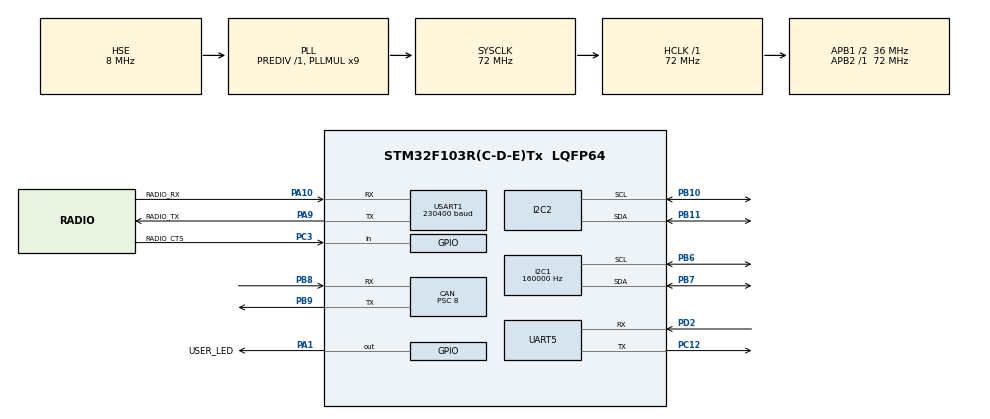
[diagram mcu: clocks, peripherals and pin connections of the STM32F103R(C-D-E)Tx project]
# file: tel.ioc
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CAN.BS1=CAN_BS1_4TQ
CAN.BS2=CAN_BS2_4TQ
CAN.CalculateBaudRate=500000
CAN.CalculateTimeBit=2000
CAN.CalculateTimeQuantum=222.22222222222223
CAN.NART=DISABLE
CAN.Prescaler=8
CAN.SJW=CAN_SJW_2TQ
CAN.TXFP=DISABLE
Dma.Request0=USART1_TX
Dma.USART1_TX.0.Direction=DMA_MEMORY_TO_PERIPH
Dma.USART1_TX.0.Instance=DMA1_Channel4
Dma.USART1_TX.0.MemDataAlignment=DMA_MDATAALIGN_BYTE
Dma.USART1_TX.0.MemInc=DMA_MINC_ENABLE
Dma.USART1_TX.0.Mode=DMA_NORMAL
Dma.USART1_TX.0.PeriphDataAlignment=DMA_PDATAALIGN_BYTE
Dma.USART1_TX.0.PeriphInc=DMA_PINC_DISABLE
Dma.USART1_TX.0.Priority=DMA_PRIORITY_LOW
FREERTOS.INCLUDE_xTaskGetHandle=0
FREERTOS.Tasks01=defaultTask,24,128,StartDefaultTask,Default,NULL,Static,defaultTaskBuffer,defaultTaskControlBlock;IMU_Task,8,256,IMU_task,Default,NULL,Static,IMU_TaskBuffer,IMU_TaskControlBlock;GPS_Task,8,512,GPS_task,Default,NULL,Static,GPS_TaskBuffer,GPS_TaskControlBlock;CANLoad_Task,8,128,CANLoad_task,Default,NULL,Static,CANLoad_TaskBuffer,CANLoad_TaskControlBlock;Diagnostic_Task,8,128,Diagnostic_task,Default,NULL,Static,DiagnosticTaskBuffer,DiagnosticTaskControlBlock
FREERTOS.configTOTAL_HEAP_SIZE=16384
FREERTOS.configUSE_NEWLIB_REENTRANT=1
I2C1.ClockSpeed=160000
I2C1.I2C_Mode=I2C_Fast
I2C1.OwnAddress=0
IWDG.Prescaler=IWDG_PRESCALER_4
Mcu.Family=STM32F1
Mcu.Name=STM32F103R(C-D-E)Tx
Mcu.Package=LQFP64
NVIC.DMA1_Channel4_IRQn=true\:5\:0\:false\:false\:true\:true\:false\:true\:true
NVIC.I2C1_EV_IRQn=true\:5\:0\:false\:false\:true\:true\:true\:true\:true
NVIC.PriorityGroup=NVIC_PRIORITYGROUP_4
NVIC.TIM1_UP_IRQn=true\:15\:0\:false\:false\:true\:false\:false\:true\:true
NVIC.TIM2_IRQn=true\:5\:0\:false\:false\:true\:true\:true\:true\:true
NVIC.TimeBase=TIM1_UP_IRQn
NVIC.TimeBaseIP=TIM1
NVIC.UART5_IRQn=true\:5\:0\:false\:false\:true\:true\:true\:true\:true
NVIC.USART1_IRQn=true\:5\:0\:false\:false\:true\:true\:true\:true\:true
NVIC.USB_LP_CAN1_RX0_IRQn=true\:5\:0\:false\:false\:true\:true\:true\:true\:true
PA1.GPIO_Label=USER_LED
PA1.Signal=GPIO_Output
PA10.GPIO_Label=RADIO_RX
PA10.Mode=Asynchronous
PA10.Signal=USART1_RX
PA13.Mode=Serial_Wire
PA13.Signal=SYS_JTMS-SWDIO
PA14.Mode=Serial_Wire
PA14.Signal=SYS_JTCK-SWCLK
PA9.GPIO_Label=RADIO_TX
PA9.Mode=Asynchronous
PA9.Signal=USART1_TX
PB10.Mode=I2C
PB10.Signal=I2C2_SCL
PB11.Mode=I2C
PB11.Signal=I2C2_SDA
PB6.Mode=I2C
PB6.Signal=I2C1_SCL
PB7.Mode=I2C
PB7.Signal=I2C1_SDA
PB8.Mode=CAN_Activate
PB8.Signal=CAN_RX
PB9.Mode=CAN_Activate
PB9.Signal=CAN_TX
PC12.Mode=Asynchronous
PC12.Signal=UART5_TX
PC14-OSC32_IN.Mode=LSE-External-Oscillator
PC14-OSC32_IN.Signal=RCC_OSC32_IN
PC15-OSC32_OUT.Mode=LSE-External-Oscillator
PC15-OSC32_OUT.Signal=RCC_OSC32_OUT
PC3.GPIO_Label=RADIO_CTS
PC3.Signal=GPIO_Input
PD0-OSC_IN.Mode=HSE-External-Oscillator
PD0-OSC_IN.Signal=RCC_OSC_IN
PD1-OSC_OUT.Mode=HSE-External-Oscillator
PD1-OSC_OUT.Signal=RCC_OSC_OUT
PD2.Mode=Asynchronous
PD2.Signal=UART5_RX
ProjectManager.HeapSize=0x200
ProjectManager.StackSize=0x400
ProjectManager.TargetToolchain=STM32CubeIDE
RCC.AHBFreq_Value=72000000
RCC.APB1CLKDivider=RCC_HCLK_DIV2
RCC.APB1Freq_Value=36000000
RCC.APB1TimFreq_Value=72000000
RCC.APB2Freq_Value=72000000
RCC.APB2TimFreq_Value=72000000
RCC.HCLKFreq_Value=72000000
RCC.PLLMUL=RCC_PLL_MUL9
RCC.PLLSourceVirtual=RCC_PLLSOURCE_HSE
RCC.SYSCLKFreq_VALUE=72000000
RCC.SYSCLKSource=RCC_SYSCLKSOURCE_PLLCLK
RCC.USBFreq_Value=72000000
TIM2.Prescaler=71
UART5.VirtualMode=Asynchronous
USART1.BaudRate=230400
USART1.VirtualMode=VM_ASYNC
VP_FREERTOS_VS_CMSIS_V2.Mode=CMSIS_V2
VP_IWDG_VS_IWDG.Mode=IWDG_Activate
VP_RTC_VS_RTC_Activate.Mode=RTC_Enabled
VP_RTC_VS_RTC_Calendar.Mode=RTC_Calendar
VP_SYS_VS_tim1.Mode=TIM1
VP_TIM2_VS_ClockSourceINT.Mode=Internal
VP_TIM2_VS_ClockSourceITR.Mode=TriggerSource_ITR0
VP_TIM2_VS_ControllerModeTrigger.Mode=Trigger Mode
board=custom

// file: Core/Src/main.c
/* USER CODE BEGIN Header */
/**
  ******************************************************************************
  * @file           : main.c
  * @brief          : Main program body
  ******************************************************************************
  * @attention
  *
  * Copyright (c) 2024 STMicroelectronics.
  * All rights reserved.
  *
  * This software is licensed under terms that can be found in the LICENSE file
  * in the root directory of this software component.
  * If no LICENSE file comes with this software, it is provided AS-IS.
  *
  ******************************************************************************
  */
/* USER CODE END Header */
#include "main.h"
#include "cmsis_os.h"
#include "can.h"
#include "dma.h"
#include "i2c.h"
#include "iwdg.h"
#include "rtc.h"
#include "tim.h"
#include "usart.h"
#include "gpio.h"

/* USER CODE BEGIN Includes */

#include "radio.h"
#include "canload.h"
// #include "cpu_load.h"
#include "gps.h"
#include "diagnostic.h"

/* USER CODE END Includes */

void SystemClock_Config(void);
void MX_FREERTOS_Init(void);

int main(void)
{

  /* USER CODE BEGIN 1 */
//  const char msg[] = "Hello World!\r\n";
  /* USER CODE END 1 */

  /* MCU Configuration--------------------------------------------------------*/

  /* Reset of all peripherals, Initializes the Flash interface and the Systick. */
  HAL_Init();

  /* Configure the system clock */
  SystemClock_Config();

  /* Initialize all configured peripherals */
  MX_GPIO_Init();
  MX_DMA_Init();
  MX_CAN_Init();
  MX_USART1_UART_Init();
  MX_RTC_Init();
  MX_IWDG_Init();
  MX_TIM2_Init();
  MX_I2C1_Init();
  MX_I2C2_Init();
  MX_UART5_Init();
  /* USER CODE BEGIN 2 */

  DIAGNOSTIC_init();
  IWDG_perform_reset_sequence();      // Check for IWDG reset

  /* USER CODE END 2 */

  /* Init scheduler */
  osKernelInitialize();

  /* Call init function for freertos objects (in cmsis_os2.c) */
  MX_FREERTOS_Init();

  /* Start scheduler */
  osKernelStart();

  /* We should never get here as control is now taken by the scheduler */

  /* Infinite loop */
  while (1)
  {
    // HAL_UART_Transmit(&huart5, (uint8_t*)msg, sizeof(msg) - 1, HAL_MAX_DELAY);
  }
}

void SystemClock_Config(void)
{
  RCC_OscInitTypeDef RCC_OscInitStruct = {0};
  RCC_ClkInitTypeDef RCC_ClkInitStruct = {0};
  RCC_PeriphCLKInitTypeDef PeriphClkInit = {0};

  /** Initializes the RCC Oscillators according to the specified parameters
  * in the RCC_OscInitTypeDef structure.
  */
  RCC_OscInitStruct.OscillatorType = RCC_OSCILLATORTYPE_LSI|RCC_OSCILLATORTYPE_HSE;
  RCC_OscInitStruct.HSEState = RCC_HSE_ON;
  RCC_OscInitStruct.HSEPredivValue = RCC_HSE_PREDIV_DIV1;
  RCC_OscInitStruct.HSIState = RCC_HSI_ON;
  RCC_OscInitStruct.LSIState = RCC_LSI_ON;
  RCC_OscInitStruct.PLL.PLLState = RCC_PLL_ON;
  RCC_OscInitStruct.PLL.PLLSource = RCC_PLLSOURCE_HSE;
  RCC_OscInitStruct.PLL.PLLMUL = RCC_PLL_MUL9;
  if (HAL_RCC_OscConfig(&RCC_OscInitStruct) != HAL_OK)
  {
    Error_Handler();
  }

  /** Initializes the CPU, AHB and APB buses clocks
  */
  RCC_ClkInitStruct.ClockType = RCC_CLOCKTYPE_HCLK|RCC_CLOCKTYPE_SYSCLK
                              |RCC_CLOCKTYPE_PCLK1|RCC_CLOCKTYPE_PCLK2;
  RCC_ClkInitStruct.SYSCLKSource = RCC_SYSCLKSOURCE_PLLCLK;
  RCC_ClkInitStruct.AHBCLKDivider = RCC_SYSCLK_DIV1;
  RCC_ClkInitStruct.APB1CLKDivider = RCC_HCLK_DIV2;
  RCC_ClkInitStruct.APB2CLKDivider = RCC_HCLK_DIV1;

  if (HAL_RCC_ClockConfig(&RCC_ClkInitStruct, FLASH_LATENCY_2) != HAL_OK)
  {
    Error_Handler();
  }
  PeriphClkInit.PeriphClockSelection = RCC_PERIPHCLK_RTC;
  PeriphClkInit.RTCClockSelection = RCC_RTCCLKSOURCE_LSI;
  if (HAL_RCCEx_PeriphCLKConfig(&PeriphClkInit) != HAL_OK)
  {
    Error_Handler();
  }
}

void HAL_TIM_PeriodElapsedCallback(TIM_HandleTypeDef *htim)
{
  if (htim->Instance == TIM1) {
    HAL_IncTick();
  }
  /* USER CODE BEGIN Callback 1 */

//   CPU_LOAD_timer_overflow_handler(htim);

  /* USER CODE END Callback 1 */
}

void Error_Handler(void)
{
  __disable_irq();
  while (1)
  {
  }
}

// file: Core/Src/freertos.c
/* USER CODE BEGIN Header */
/**
  ******************************************************************************
  * File Name          : freertos.c
  * Description        : Code for freertos applications
  ******************************************************************************
  * @attention
  *
  * Copyright (c) 2024 STMicroelectronics.
  * All rights reserved.
  *
  * This software is licensed under terms that can be found in the LICENSE file
  * in the root directory of this software component.
  * If no LICENSE file comes with this software, it is provided AS-IS.
  *
  ******************************************************************************
  */
/* USER CODE END Header */

#include "FreeRTOS.h"
#include "task.h"
#include "main.h"
#include "cmsis_os.h"

/* USER CODE BEGIN Includes */

#include "iwdg.h"
#include "tel_freertos.h"
#include "canload.h"
#include "can.h"
#include "radio.h"
#include "gps.h"
#include "nmea_parse.h"
#include "imu.h"
#include "canload.h"

/* USER CODE END Includes */

typedef StaticTask_t osStaticThreadDef_t;
/* USER CODE BEGIN PTD */

typedef StaticTask_t osStaticMessageQDef_t;

/* USER CODE END PTD */

/* USER CODE BEGIN PD */
#define WINDOW_SIZE 10
#define FREQUENCY_MS 100
#define NUM_USART1_TX_SEMAPHORES        1

/* USER CODE END PD */

/* USER CODE BEGIN Variables */

/* SEMAPHORES */
osSemaphoreId_t usart1_tx_semaphore;

/* QUEUES */
osMessageQueueId_t radio_tx_queue;
uint8_t radio_tx_queue_buffer[ RADIO_QUEUE_SIZE * RADIO_MSG_TYPEDEF_SIZE ];
osStaticMessageQDef_t radio_tx_queue_cb;
const osMessageQueueAttr_t radio_tx_queue_attributes = {
  .name = "radio_tx_queue",
  .cb_mem = &radio_tx_queue_cb,
  .cb_size = sizeof(radio_tx_queue_cb),
  .mq_mem = &radio_tx_queue_buffer,
  .mq_size = sizeof(radio_tx_queue_buffer)
};

/* CPU Load Config */

/* USER CODE END Variables */
/* Definitions for defaultTask */
osThreadId_t defaultTaskHandle;
uint32_t defaultTaskBuffer[ 128 ];
osStaticThreadDef_t defaultTaskControlBlock;
const osThreadAttr_t defaultTask_attributes = {
  .name = "defaultTask",
  .cb_mem = &defaultTaskControlBlock,
  .cb_size = sizeof(defaultTaskControlBlock),
  .stack_mem = &defaultTaskBuffer[0],
  .stack_size = sizeof(defaultTaskBuffer),
  .priority = (osPriority_t) osPriorityNormal,
};
/* Definitions for IMU_Task */
osThreadId_t IMU_TaskHandle;
uint32_t IMU_TaskBuffer[ 256 ];
osStaticThreadDef_t IMU_TaskControlBlock;
const osThreadAttr_t IMU_Task_attributes = {
  .name = "IMU_Task",
  .cb_mem = &IMU_TaskControlBlock,
  .cb_size = sizeof(IMU_TaskControlBlock),
  .stack_mem = &IMU_TaskBuffer[0],
  .stack_size = sizeof(IMU_TaskBuffer),
  .priority = (osPriority_t) osPriorityLow,
};
/* Definitions for GPS_Task */
osThreadId_t GPS_TaskHandle;
uint32_t GPS_TaskBuffer[ 512 ];
osStaticThreadDef_t GPS_TaskControlBlock;
const osThreadAttr_t GPS_Task_attributes = {
  .name = "GPS_Task",
  .cb_mem = &GPS_TaskControlBlock,
  .cb_size = sizeof(GPS_TaskControlBlock),
  .stack_mem = &GPS_TaskBuffer[0],
  .stack_size = sizeof(GPS_TaskBuffer),
  .priority = (osPriority_t) osPriorityLow,
};
/* Definitions for CANLoad_Task */
osThreadId_t CANLoad_TaskHandle;
uint32_t CANLoad_TaskBuffer[ 128 ];
osStaticThreadDef_t CANLoad_TaskControlBlock;
const osThreadAttr_t CANLoad_Task_attributes = {
  .name = "CANLoad_Task",
  .cb_mem = &CANLoad_TaskControlBlock,
  .cb_size = sizeof(CANLoad_TaskControlBlock),
  .stack_mem = &CANLoad_TaskBuffer[0],
  .stack_size = sizeof(CANLoad_TaskBuffer),
  .priority = (osPriority_t) osPriorityLow,
};
/* Definitions for Diagnostic_Task */
osThreadId_t Diagnostic_TaskHandle;
uint32_t DiagnosticTaskBuffer[ 128 ];
osStaticThreadDef_t DiagnosticTaskControlBlock;
const osThreadAttr_t Diagnostic_Task_attributes = {
  .name = "Diagnostic_Task",
  .cb_mem = &DiagnosticTaskControlBlock,
  .cb_size = sizeof(DiagnosticTaskControlBlock),
  .stack_mem = &DiagnosticTaskBuffer[0],
  .stack_size = sizeof(DiagnosticTaskBuffer),
  .priority = (osPriority_t) osPriorityLow,
};

void StartDefaultTask(void *argument);
void IMU_task(void *argument);
void GPS_task(void *argument);
void CANLoad_task(void *argument);
void Diagnostic_task(void *argument);

void MX_FREERTOS_Init(void); /* (MISRA C 2004 rule 8.1) */

void MX_FREERTOS_Init(void) {
  /* USER CODE BEGIN Init */

    CAN_tasks_init();                         // Rx CAN Filter, Rx callback using CAN comms

  /* USER CODE END Init */

  /* USER CODE BEGIN RTOS_SEMAPHORES */
    /* add semaphores, ... */

  usart1_tx_semaphore = osSemaphoreNew(NUM_USART1_TX_SEMAPHORES, NUM_USART1_TX_SEMAPHORES, NULL);

  /* USER CODE END RTOS_SEMAPHORES */

  /* Create the thread(s) */
  /* creation of defaultTask */
  defaultTaskHandle = osThreadNew(StartDefaultTask, NULL, &defaultTask_attributes);

  /* creation of IMU_Task */
  IMU_TaskHandle = osThreadNew(IMU_task, NULL, &IMU_Task_attributes);

  /* creation of GPS_Task */
  GPS_TaskHandle = osThreadNew(GPS_task, NULL, &GPS_Task_attributes);

  /* creation of CANLoad_Task */
  CANLoad_TaskHandle = osThreadNew(CANLoad_task, NULL, &CANLoad_Task_attributes);

  /* creation of Diagnostic_Task */
  Diagnostic_TaskHandle = osThreadNew(Diagnostic_task, NULL, &Diagnostic_Task_attributes);

}

void StartDefaultTask(void *argument)
{
  /* USER CODE BEGIN StartDefaultTask */

    /* Infinite loop */
    for(;;)
    {
        IWDG_Refresh(&hiwdg);	                                 // Refresh the IWDG to ensure no reset occurs
        osDelay(REFRESH_DELAY_MS);
    }

  /* USER CODE END StartDefaultTask */
}

void IMU_task(void *argument)
{
  /* USER CODE BEGIN IMU_task */
    /* Infinite loop */
    osDelay(IMU_TASK_OFFSET_DELAY);
    for (;;)
    {
        imu_task();
        osDelay(IMU_TASK_DELAY);

        // If you are out here something bad happened with I2C reading or writing. In that case try restarting I2C
        HAL_I2C_DeInit(&hi2c2);
        osDelay(IMU_TASK_DELAY);
        HAL_I2C_Init(&hi2c2);
        osDelay(IMU_TASK_DELAY);
    }
  /* USER CODE END IMU_task */
}

void GPS_task(void *argument)
{
  /* USER CODE BEGIN GPS_task */
    /* Infinite loop */
    osDelay(GPS_OVERALL_TASK_DELAY);

    HAL_StatusTypeDef status = gps_config_meas_rate();

    while(status != HAL_OK)
    {
      status = gps_config_meas_rate();
      g_tel_diagnostic_flags.bits.gps_write_fail = true;
      osDelay(GPS_TASK_DELAY);
    }

    g_tel_diagnostic_flags.bits.gps_write_fail = false;

    for(;;)
    {
        gps_task();
        osDelay(GPS_TASK_DELAY_SINGLE);     // 5 of these makes 250 ms.

        if (g_tel_diagnostic_flags.bits.gps_read_fail)
        {
            HAL_I2C_DeInit(&hi2c1);
            osDelay(GPS_TASK_DELAY);
            HAL_I2C_Init(&hi2c1);
            osDelay(GPS_TASK_DELAY);
        }
    }

  /* USER CODE END GPS_task */
}

void CANLoad_task(void *argument)
{
  /* USER CODE BEGIN CANLoad_task */
  /* Infinite loop */
  for(;;)
  {
   CANLOAD_update_sliding_window();
   // CAN_tx_canload_msg();
   osDelay(CANLOAD_MSG_RATE);
  }
  /* USER CODE END CANLoad_task */
}

void Diagnostic_task(void *argument)
{
  /* USER CODE BEGIN Diagnostic_task */
  /* Infinite loop */

  DIAGNOSTIC_send_can();
  for(;;)
  {
    ++g_time_since_bootup;
    osDelay(DIAGNOSTIC_TASK_DELAY);     // Delay in middle so that variable value is set.
    DIAGNOSTIC_send_can();
  }
  /* USER CODE END Diagnostic_task */
}
